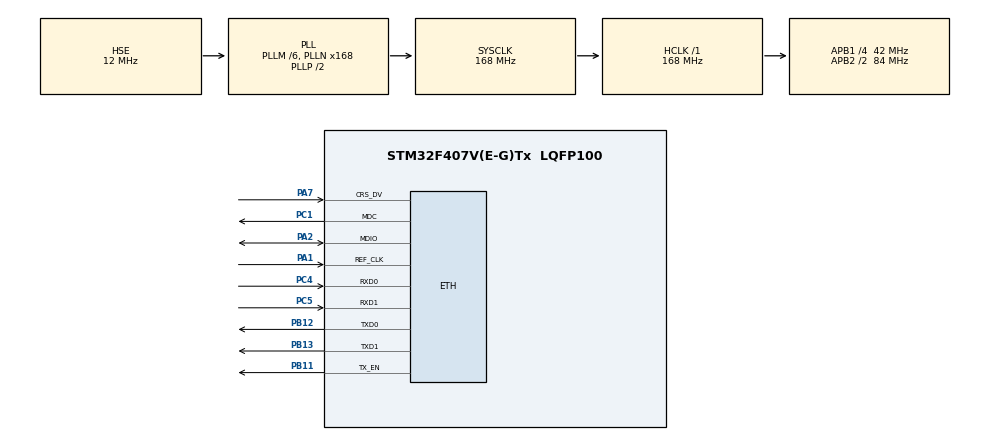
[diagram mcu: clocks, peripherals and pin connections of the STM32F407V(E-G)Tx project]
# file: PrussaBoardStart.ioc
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ETH.MediaInterface=ETH_MEDIA_INTERFACE_RMII
ETH.PhyAddress=0
FREERTOS.INCLUDE_uxTaskGetStackHighWaterMark=1
FREERTOS.INCLUDE_uxTaskGetStackHighWaterMark2=1
FREERTOS.INCLUDE_xTaskGetHandle=1
FREERTOS.Tasks01=defaultTask,0,128,StartDefaultTask,Default,NULL,Dynamic,NULL,NULL
FREERTOS.configCHECK_FOR_STACK_OVERFLOW=2
FREERTOS.configRECORD_STACK_HIGH_ADDRESS=1
FREERTOS.configUSE_MALLOC_FAILED_HOOK=1
FREERTOS.configUSE_NEWLIB_REENTRANT=0
FREERTOS.configUSE_TIMERS=1
FREERTOS.configUSE_TRACE_FACILITY=1
LWIP.Version=v2.1.2_Cube
Mcu.Family=STM32F4
Mcu.Name=STM32F407V(E-G)Tx
Mcu.Package=LQFP100
NVIC.ETH_IRQn=true\:5\:0\:false\:false\:true\:true\:false\:true\:true
NVIC.PriorityGroup=NVIC_PRIORITYGROUP_4
NVIC.TIM1_UP_TIM10_IRQn=true\:15\:0\:false\:false\:true\:false\:false\:true\:true
NVIC.TimeBase=TIM1_UP_TIM10_IRQn
NVIC.TimeBaseIP=TIM1
PA1.Mode=RMII
PA1.Signal=ETH_REF_CLK
PA13.Mode=Trace_Asynchronous_SW
PA13.Signal=SYS_JTMS-SWDIO
PA14.Mode=Trace_Asynchronous_SW
PA14.Signal=SYS_JTCK-SWCLK
PA2.Mode=RMII
PA2.Signal=ETH_MDIO
PA7.Mode=RMII
PA7.Signal=ETH_CRS_DV
PB11.Mode=RMII
PB11.Signal=ETH_TX_EN
PB12.Mode=RMII
PB12.Signal=ETH_TXD0
PB13.Mode=RMII
PB13.Signal=ETH_TXD1
PB3.Mode=Trace_Asynchronous_SW
PB3.Signal=SYS_JTDO-SWO
PC1.Mode=RMII
PC1.Signal=ETH_MDC
PC4.Mode=RMII
PC4.Signal=ETH_RXD0
PC5.Mode=RMII
PC5.Signal=ETH_RXD1
PH0-OSC_IN.Mode=HSE-External-Oscillator
PH0-OSC_IN.Signal=RCC_OSC_IN
PH1-OSC_OUT.Mode=HSE-External-Oscillator
PH1-OSC_OUT.Signal=RCC_OSC_OUT
ProjectManager.HeapSize=0x200
ProjectManager.StackSize=0x400
ProjectManager.TargetToolchain=STM32CubeIDE
RCC.48MHZClocksFreq_Value=48000000
RCC.AHBFreq_Value=168000000
RCC.APB1CLKDivider=RCC_HCLK_DIV4
RCC.APB1Freq_Value=42000000
RCC.APB1TimFreq_Value=84000000
RCC.APB2CLKDivider=RCC_HCLK_DIV2
RCC.APB2Freq_Value=84000000
RCC.APB2TimFreq_Value=168000000
RCC.CortexFreq_Value=168000000
RCC.HCLKFreq_Value=168000000
RCC.HSE_VALUE=12000000
RCC.HSI_VALUE=16000000
RCC.LSE_VALUE=32768
RCC.PLLM=6
RCC.PLLN=168
RCC.PLLQ=7
RCC.PLLSourceVirtual=RCC_PLLSOURCE_HSE
RCC.SYSCLKFreq_VALUE=168000000
RCC.SYSCLKSource=RCC_SYSCLKSOURCE_PLLCLK
RCC.VCOOutputFreq_Value=336000000
VP_CRC_VS_CRC.Mode=CRC_Activate
VP_FREERTOS_VS_CMSIS_V1.Mode=CMSIS_V1
VP_LWIP_VS_Enabled.Mode=Enabled
VP_MBEDTLS_VS_MBEDTLS.Mode=Enabled
VP_RNG_VS_RNG.Mode=RNG_Activate
VP_RTC_VS_RTC_Activate.Mode=RTC_Enabled
VP_RTC_VS_RTC_Calendar.Mode=RTC_Calendar
VP_SYS_VS_tim1.Mode=TIM1
board=custom

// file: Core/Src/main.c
/* USER CODE BEGIN Header */
/**
  ******************************************************************************
  * @file           : main.c
  * @brief          : Main program body
  ******************************************************************************
  * @attention
  *
  * Copyright (c) 2022 STMicroelectronics.
  * All rights reserved.
  *
  * This software is licensed under terms that can be found in the LICENSE file
  * in the root directory of this software component.
  * If no LICENSE file comes with this software, it is provided AS-IS.
  *
  ******************************************************************************
  */
/* USER CODE END Header */
#include "main.h"
#include "cmsis_os.h"
#include "mbedtls.h"

/* USER CODE BEGIN Includes */
#include "lwip.h"
#include "lwip/api.h"
#include "debuglog.h"
#include "time.h"

#include <libwebsockets.h>
#include <string.h>
#include "SEGGER_RTT.h"
/* USER CODE END Includes */

#define ASM_BKPT_DEBUG

CRC_HandleTypeDef hcrc;

RNG_HandleTypeDef hrng;

RTC_HandleTypeDef hrtc;

osThreadId defaultTaskHandle;

void SystemClock_Config(void);
static void MX_GPIO_Init(void);
static void MX_CRC_Init(void);
static void MX_RNG_Init(void);
static void MX_RTC_Init(void);
void StartDefaultTask(void const * argument);

/* USER CODE BEGIN PFP */
#define CONNECT_TO_POLAR3D_COM
//#define CONNECT_TO_LIBWEBSOCKETS_ORG
/* USER CODE END PFP */

int main(void)
{

  /* MCU Configuration--------------------------------------------------------*/

  /* Reset of all peripherals, Initializes the Flash interface and the Systick. */
  HAL_Init();

  /* Configure the system clock */
  SystemClock_Config();

  /* Initialize all configured peripherals */
  MX_GPIO_Init();
  MX_CRC_Init();
  MX_RNG_Init();
  MX_RTC_Init();
  /* USER CODE BEGIN 2 */
  SEGGER_RTT_Init();
  extern SEGGER_RTT_CB _SEGGER_RTT;
  char tmp[128]={};
  snprintf(tmp, 128, "\nTRACE[0x%08X]", (unsigned int)(&_SEGGER_RTT));
  for (int i=0; i<strnlen(tmp, 128); i++)
	  ITM_SendChar((uint32_t)tmp[i]);
  /* USER CODE END 2 */

  /* Create the thread(s) */
  /* definition and creation of defaultTask */
  osThreadDef(defaultTask, StartDefaultTask, osPriorityNormal, 0, 4096);
  defaultTaskHandle = osThreadCreate(osThread(defaultTask), NULL);

  /* Start scheduler */
  osKernelStart();

  /* We should never get here as control is now taken by the scheduler */
  /* Infinite loop */
  while (1)
  {

  }
}

void SystemClock_Config(void)
{
  RCC_OscInitTypeDef RCC_OscInitStruct = {0};
  RCC_ClkInitTypeDef RCC_ClkInitStruct = {0};

  /** Configure the main internal regulator output voltage
  */
  __HAL_RCC_PWR_CLK_ENABLE();
  __HAL_PWR_VOLTAGESCALING_CONFIG(PWR_REGULATOR_VOLTAGE_SCALE1);
  /** Initializes the RCC Oscillators according to the specified parameters
  * in the RCC_OscInitTypeDef structure.
  */
  RCC_OscInitStruct.OscillatorType = RCC_OSCILLATORTYPE_LSI|RCC_OSCILLATORTYPE_HSE;
  RCC_OscInitStruct.HSEState = RCC_HSE_ON;
  RCC_OscInitStruct.LSIState = RCC_LSI_ON;
  RCC_OscInitStruct.PLL.PLLState = RCC_PLL_ON;
  RCC_OscInitStruct.PLL.PLLSource = RCC_PLLSOURCE_HSE;
  RCC_OscInitStruct.PLL.PLLM = 6;
  RCC_OscInitStruct.PLL.PLLN = 168;
  RCC_OscInitStruct.PLL.PLLP = RCC_PLLP_DIV2;
  RCC_OscInitStruct.PLL.PLLQ = 7;
  if (HAL_RCC_OscConfig(&RCC_OscInitStruct) != HAL_OK)
  {
    Error_Handler();
  }
  /** Initializes the CPU, AHB and APB buses clocks
  */
  RCC_ClkInitStruct.ClockType = RCC_CLOCKTYPE_HCLK|RCC_CLOCKTYPE_SYSCLK
                              |RCC_CLOCKTYPE_PCLK1|RCC_CLOCKTYPE_PCLK2;
  RCC_ClkInitStruct.SYSCLKSource = RCC_SYSCLKSOURCE_PLLCLK;
  RCC_ClkInitStruct.AHBCLKDivider = RCC_SYSCLK_DIV1;
  RCC_ClkInitStruct.APB1CLKDivider = RCC_HCLK_DIV4;
  RCC_ClkInitStruct.APB2CLKDivider = RCC_HCLK_DIV2;

  if (HAL_RCC_ClockConfig(&RCC_ClkInitStruct, FLASH_LATENCY_5) != HAL_OK)
  {
    Error_Handler();
  }
}

static void MX_CRC_Init(void)
{

  hcrc.Instance = CRC;
  if (HAL_CRC_Init(&hcrc) != HAL_OK)
  {
    Error_Handler();
  }

}

static void MX_RNG_Init(void)
{

  hrng.Instance = RNG;
  if (HAL_RNG_Init(&hrng) != HAL_OK)
  {
    Error_Handler();
  }

}

static void MX_RTC_Init(void)
{

  RTC_TimeTypeDef sTime = {0};
  RTC_DateTypeDef sDate = {0};

  /** Initialize RTC Only
  */
  hrtc.Instance = RTC;
  hrtc.Init.HourFormat = RTC_HOURFORMAT_24;
  hrtc.Init.AsynchPrediv = 127;
  hrtc.Init.SynchPrediv = 255;
  hrtc.Init.OutPut = RTC_OUTPUT_DISABLE;
  hrtc.Init.OutPutPolarity = RTC_OUTPUT_POLARITY_HIGH;
  hrtc.Init.OutPutType = RTC_OUTPUT_TYPE_OPENDRAIN;
  if (HAL_RTC_Init(&hrtc) != HAL_OK)
  {
    Error_Handler();
  }

  /** Initialize RTC and set the Time and Date
  */
  sTime.Hours = 0x0;
  sTime.Minutes = 0x0;
  sTime.Seconds = 0x0;
  sTime.DayLightSaving = RTC_DAYLIGHTSAVING_NONE;
  sTime.StoreOperation = RTC_STOREOPERATION_RESET;
  if (HAL_RTC_SetTime(&hrtc, &sTime, RTC_FORMAT_BCD) != HAL_OK)
  {
    Error_Handler();
  }
  sDate.WeekDay = RTC_WEEKDAY_MONDAY;
  sDate.Month = RTC_MONTH_JANUARY;
  sDate.Date = 0x1;
  sDate.Year = 0x0;

  if (HAL_RTC_SetDate(&hrtc, &sDate, RTC_FORMAT_BCD) != HAL_OK)
  {
    Error_Handler();
  }

}

static void MX_GPIO_Init(void)
{

  /* GPIO Ports Clock Enable */
  __HAL_RCC_GPIOH_CLK_ENABLE();
  __HAL_RCC_GPIOC_CLK_ENABLE();
  __HAL_RCC_GPIOA_CLK_ENABLE();
  __HAL_RCC_GPIOB_CLK_ENABLE();

}

/* USER CODE BEGIN 4 */
void vApplicationStackOverflowHook(xTaskHandle xTask, signed char *pcTaskName)
{
#ifdef ASM_BKPT_DEBUG
	__asm("BKPT #0\n") ; // Break into the debugger
#endif //ASM_BKPT_DEBUG
	static char errStr[]="\nSTACK OVERFLOWED!";
	for(int i=0; i<sizeof(errStr); i++)
		ITM_SendChar(errStr[i]);
	while(1)
	{

	}
}

void vApplicationMallocFailedHook(void)
{

#ifdef ASM_BKPT_DEBUG
	__asm("BKPT #0\n") ; // Break into the debugger
#endif //ASM_BKPT_DEBUG
	static char errStr[]="\nMALLOC FAILED!";
	for(int i=0; i<sizeof(errStr); i++)
		ITM_SendChar(errStr[i]);
	while(1)
	{

	}
}

uint32_t RNGforMbedTLS(void)
{
	uint32_t tmp=0;
	HAL_RNG_GenerateRandomNumber(&hrng, &tmp);
	return tmp;
}

void srand(unsigned int seed)
{
	return;
}

int rand(void)
{
	uint32_t tmp=0;
	HAL_RNG_GenerateRandomNumber(&hrng, &tmp);
	return (int)tmp;
}

unsigned int sleep(unsigned int seconds)
{
	osDelay(seconds*1000);
	return 0;
}

int usleep(useconds_t usec)
{
	osDelay(usec);
	return 0;
}

time_t time (time_t * p)
{
	RTC_DateTypeDef sdatestructureget;
	RTC_TimeTypeDef stimestructureget;
	HAL_RTC_GetTime(&hrtc, &stimestructureget, RTC_FORMAT_BIN);
	HAL_RTC_GetDate(&hrtc, &sdatestructureget, RTC_FORMAT_BIN);

	struct tm orig;
	orig.tm_sec = stimestructureget.Seconds;
	orig.tm_min = stimestructureget.Minutes;
	orig.tm_hour = stimestructureget.Hours;
	orig.tm_mday = sdatestructureget.Date;
	orig.tm_mon =  sdatestructureget.Month -1;
	orig.tm_year = 2000 + sdatestructureget.Year -1900;
	orig.tm_isdst = -1;
	time_t time_dat = mktime(&orig);

	/*	   time_t time_dat2;
	   struct tm *orig2;
	   orig2 = localtime(&time_dat);
	   time_dat2 = mktime(orig2);*/
	return time_dat;
}

int gettimeofday (struct timeval *__restrict __p,
			  void *__restrict __tz)
{
	RTC_DateTypeDef sdatestructureget;
	RTC_TimeTypeDef stimestructureget;
	HAL_RTC_GetTime(&hrtc, &stimestructureget, RTC_FORMAT_BIN);
	HAL_RTC_GetDate(&hrtc, &sdatestructureget, RTC_FORMAT_BIN);

	struct tm orig;
	orig.tm_sec = stimestructureget.Seconds;
	orig.tm_min = stimestructureget.Minutes;
	orig.tm_hour = stimestructureget.Hours;
	orig.tm_mday = sdatestructureget.Date;
	orig.tm_mon =  sdatestructureget.Month -1;
	orig.tm_year = 2000 + sdatestructureget.Year -1900;
	orig.tm_isdst = -1;
	time_t time_dat = mktime(&orig);

	__p->tv_sec = time_dat;
	__p->tv_usec = 0;
	return 0;
}

/*struct tm *localtime (const time_t * p)
{
	RTC_DateTypeDef sdatestructureget;
	RTC_TimeTypeDef stimestructureget;
	HAL_RTC_GetTime(&hrtc, &stimestructureget, RTC_FORMAT_BIN);
	HAL_RTC_GetDate(&hrtc, &sdatestructureget, RTC_FORMAT_BIN);

	struct tm orig = pvPortMalloc(sizeof(struct tm));
	orig.tm_sec = stimestructureget.Seconds;
	orig.tm_min = stimestructureget.Minutes;
	orig.tm_hour = stimestructureget.Hours;
	orig.tm_mday = sdatestructureget.Date;
	orig.tm_mon =  sdatestructureget.Month -1;
	orig.tm_year = 2000 + sdatestructureget.Year -1900;
	orig.tm_isdst = -1;
}*/

int RTC_SetFromTimeStamp(time_t *timestamp)
{
		struct tm *newtime;
		RTC_DateTypeDef	sdatestructureset;
		RTC_TimeTypeDef stimestructureset;

		newtime = localtime(timestamp);
		stimestructureset.Seconds	=newtime->tm_sec;
		stimestructureset.Minutes	=newtime->tm_min;
		stimestructureset.Hours		=newtime->tm_hour;
		stimestructureset.DayLightSaving = RTC_DAYLIGHTSAVING_NONE;
		stimestructureset.StoreOperation = RTC_STOREOPERATION_RESET;

		sdatestructureset.Date		=newtime->tm_mday;
		sdatestructureset.Month		=newtime->tm_mon+1;
		sdatestructureset.Year		=(newtime->tm_year)+1900-2000;
		if(newtime->tm_wday==0)
			sdatestructureset.WeekDay = 7;
		else
			sdatestructureset.WeekDay = newtime->tm_wday;

		if (HAL_RTC_SetTime(&hrtc, &stimestructureset, RTC_FORMAT_BIN) != HAL_OK)
			DEBUG_PRINTF("SetTime error");

		if (HAL_RTC_SetDate(&hrtc, &sdatestructureset, RTC_FORMAT_BIN) != HAL_OK)
			DEBUG_PRINTF("SetDate error");

		return 0;
}

/*
 * This represents your object that "contains" the client connection and has
 * the client connection bound to it
 */

static struct my_conn {
	lws_sorted_usec_list_t	sul;	     /* schedule connection retry */
	struct lws		*wsi;	     /* related wsi if any */
	uint16_t		retry_count; /* count of consequetive retries */
} mco;

static struct lws_context *context;
static int interrupted, port = 443, ssl_connection = LCCSCF_USE_SSL;
static const char *server_address =
#ifdef 	CONNECT_TO_POLAR3D_COM
			"printer4.polar3d.com",
#endif	/*CONNECT_TO_POLAR3D_COM*/
#ifdef 	CONNECT_TO_LIBWEBSOCKETS_ORG
			"libwebsockets.org",
#endif /*CONNECT_TO_LIBWEBSOCKETS_ORG*/
			*pro = "dumb-increment-protocol";

/*
 * The retry and backoff policy we want to use for our client connections
 */

static const uint32_t backoff_ms[] = { 1000, 2000, 3000, 4000, 5000 };

static const lws_retry_bo_t retry = {
	.retry_ms_table			= backoff_ms,
	.retry_ms_table_count		= LWS_ARRAY_SIZE(backoff_ms),
	.conceal_count			= LWS_ARRAY_SIZE(backoff_ms),

	.secs_since_valid_ping		= 3,  /* force PINGs after secs idle */
	.secs_since_valid_hangup	= 10, /* hangup after secs idle */

	.jitter_percent			= 20,
};

/*
 * Scheduled sul callback that starts the connection attempt
 */

static void
connect_client(lws_sorted_usec_list_t *sul)
{
	struct my_conn *mco = lws_container_of(sul, struct my_conn, sul);
	struct lws_client_connect_info i;

	memset(&i, 0, sizeof(i));

	i.context = context;
	i.port = port;
	i.address = server_address;
	i.path = "/";
	i.host = i.address;
	i.origin = i.address;
	i.ssl_connection = ssl_connection;
	i.protocol = pro;
	i.local_protocol_name = "lws-minimal-client";
	i.pwsi = &mco->wsi;
	i.retry_and_idle_policy = &retry;
	i.userdata = mco;

	if (!lws_client_connect_via_info(&i))
		/*
		 * Failed... schedule a retry... we can't use the _retry_wsi()
		 * convenience wrapper api here because no valid wsi at this
		 * point.
		 */
		if (lws_retry_sul_schedule(context, 0, sul, &retry,
					   connect_client, &mco->retry_count)) {
			lwsl_err("%s: connection attempts exhausted\n", __func__);
			interrupted = 1;
		}
}

static int
callback_minimal(struct lws *wsi, enum lws_callback_reasons reason,
		 void *user, void *in, size_t len)
{
	struct my_conn *mco = (struct my_conn *)user;

	switch (reason) {

	case LWS_CALLBACK_CLIENT_CONNECTION_ERROR:
		lwsl_err("CLIENT_CONNECTION_ERROR: %s\n",
			 in ? (char *)in : "(null)");
		goto do_retry;
		break;

	case LWS_CALLBACK_CLIENT_RECEIVE:
		lwsl_hexdump_notice(in, len);
		break;

	case LWS_CALLBACK_CLIENT_ESTABLISHED:
		lwsl_user("%s: established\n", __func__);
		break;

	case LWS_CALLBACK_CLIENT_CLOSED:
		goto do_retry;

	default:
		break;
	}

	return lws_callback_http_dummy(wsi, reason, user, in, len);

do_retry:
	/*
	 * retry the connection to keep it nailed up
	 *
	 * For this example, we try to conceal any problem for one set of
	 * backoff retries and then exit the app.
	 *
	 * If you set retry.conceal_count to be larger than the number of
	 * elements in the backoff table, it will never give up and keep
	 * retrying at the last backoff delay plus the random jitter amount.
	 */
	if (lws_retry_sul_schedule_retry_wsi(wsi, &mco->sul, connect_client,
					     &mco->retry_count)) {
		lwsl_err("%s: connection attempts exhausted\n", __func__);
		interrupted = 1;
	}

	return 0;
}

static const struct lws_protocols protocols[] = {
	{ "lws-minimal-client", callback_minimal, 0, 0, 0, NULL, 0 },
	LWS_PROTOCOL_LIST_TERM
};

/*static void
sigint_handler(int sig)
{
	interrupted = 1;
}*/

#ifdef 	CONNECT_TO_LIBWEBSOCKETS_ORG
static const char * const ca_pem_ISRG_Root_X1 =
		"-----BEGIN CERTIFICATE-----\n"
		"MIIFazCCA1OgAwIBAgIRAIIQz7DSQONZRGPgu2OCiwAwDQYJKoZIhvcNAQELBQAw\n"
		"TzELMAkGA1UEBhMCVVMxKTAnBgNVBAoTIEludGVybmV0IFNlY3VyaXR5IFJlc2Vh\n"
		"cmNoIEdyb3VwMRUwEwYDVQQDEwxJU1JHIFJvb3QgWDEwHhcNMTUwNjA0MTEwNDM4\n"
		"WhcNMzUwNjA0MTEwNDM4WjBPMQswCQYDVQQGEwJVUzEpMCcGA1UEChMgSW50ZXJu\n"
		"ZXQgU2VjdXJpdHkgUmVzZWFyY2ggR3JvdXAxFTATBgNVBAMTDElTUkcgUm9vdCBY\n"
		"MTCCAiIwDQYJKoZIhvcNAQEBBQADggIPADCCAgoCggIBAK3oJHP0FDfzm54rVygc\n"
		"h77ct984kIxuPOZXoHj3dcKi/vVqbvYATyjb3miGbESTtrFj/RQSa78f0uoxmyF+\n"
		"0TM8ukj13Xnfs7j/EvEhmkvBioZxaUpmZmyPfjxwv60pIgbz5MDmgK7iS4+3mX6U\n"
		"A5/TR5d8mUgjU+g4rk8Kb4Mu0UlXjIB0ttov0DiNewNwIRt18jA8+o+u3dpjq+sW\n"
		"T8KOEUt+zwvo/7V3LvSye0rgTBIlDHCNAymg4VMk7BPZ7hm/ELNKjD+Jo2FR3qyH\n"
		"B5T0Y3HsLuJvW5iB4YlcNHlsdu87kGJ55tukmi8mxdAQ4Q7e2RCOFvu396j3x+UC\n"
		"B5iPNgiV5+I3lg02dZ77DnKxHZu8A/lJBdiB3QW0KtZB6awBdpUKD9jf1b0SHzUv\n"
		"KBds0pjBqAlkd25HN7rOrFleaJ1/ctaJxQZBKT5ZPt0m9STJEadao0xAH0ahmbWn\n"
		"OlFuhjuefXKnEgV4We0+UXgVCwOPjdAvBbI+e0ocS3MFEvzG6uBQE3xDk3SzynTn\n"
		"jh8BCNAw1FtxNrQHusEwMFxIt4I7mKZ9YIqioymCzLq9gwQbooMDQaHWBfEbwrbw\n"
		"qHyGO0aoSCqI3Haadr8faqU9GY/rOPNk3sgrDQoo//fb4hVC1CLQJ13hef4Y53CI\n"
		"rU7m2Ys6xt0nUW7/vGT1M0NPAgMBAAGjQjBAMA4GA1UdDwEB/wQEAwIBBjAPBgNV\n"
		"HRMBAf8EBTADAQH/MB0GA1UdDgQWBBR5tFnme7bl5AFzgAiIyBpY9umbbjANBgkq\n"
		"hkiG9w0BAQsFAAOCAgEAVR9YqbyyqFDQDLHYGmkgJykIrGF1XIpu+ILlaS/V9lZL\n"
		"ubhzEFnTIZd+50xx+7LSYK05qAvqFyFWhfFQDlnrzuBZ6brJFe+GnY+EgPbk6ZGQ\n"
		"3BebYhtF8GaV0nxvwuo77x/Py9auJ/GpsMiu/X1+mvoiBOv/2X/qkSsisRcOj/KK\n"
		"NFtY2PwByVS5uCbMiogziUwthDyC3+6WVwW6LLv3xLfHTjuCvjHIInNzktHCgKQ5\n"
		"ORAzI4JMPJ+GslWYHb4phowim57iaztXOoJwTdwJx4nLCgdNbOhdjsnvzqvHu7Ur\n"
		"TkXWStAmzOVyyghqpZXjFaH3pO3JLF+l+/+sKAIuvtd7u+Nxe5AW0wdeRlN8NwdC\n"
		"jNPElpzVmbUq4JUagEiuTDkHzsxHpFKVK7q4+63SM1N95R1NbdWhscdCb+ZAJzVc\n"
		"oyi3B43njTOQ5yOf+1CceWxG1bQVs5ZufpsMljq4Ui0/1lvh+wjChP4kqKOJ2qxq\n"
		"4RgqsahDYVvTH9w7jXbyLeiNdd8XM2w9U/t7y0Ff/9yi0GE44Za4rF2LN9d11TPA\n"
		"mRGunUHBcnWEvgJBQl9nJEiU0Zsnvgc/ubhPgXRR4Xq37Z0j4r7g1SgEEzwxA57d\n"
		"emyPxgcYxn/eR44/KJ4EBs+lVDR3veyJm+kXQ99b21/+jh5Xos1AnX5iItreGCc=\n"
		"-----END CERTIFICATE-----\n";
#endif /*CONNECT_TO_LIBWEBSOCKETS_ORG*/

#ifdef 	CONNECT_TO_POLAR3D_COM
static const char * const ca_pem_Amazon_Root_CA1 =
		"-----BEGIN CERTIFICATE-----\n"
		"MIIDQTCCAimgAwIBAgITBmyfz5m/jAo54vB4ikPmljZbyjANBgkqhkiG9w0BAQsF\n"
		"ADA5MQswCQYDVQQGEwJVUzEPMA0GA1UEChMGQW1hem9uMRkwFwYDVQQDExBBbWF6\n"
		"b24gUm9vdCBDQSAxMB4XDTE1MDUyNjAwMDAwMFoXDTM4MDExNzAwMDAwMFowOTEL\n"
		"MAkGA1UEBhMCVVMxDzANBgNVBAoTBkFtYXpvbjEZMBcGA1UEAxMQQW1hem9uIFJv\n"
		"b3QgQ0EgMTCCASIwDQYJKoZIhvcNAQEBBQADggEPADCCAQoCggEBALJ4gHHKeNXj\n"
		"ca9HgFB0fW7Y14h29Jlo91ghYPl0hAEvrAIthtOgQ3pOsqTQNroBvo3bSMgHFzZM\n"
		"9O6II8c+6zf1tRn4SWiw3te5djgdYZ6k/oI2peVKVuRF4fn9tBb6dNqcmzU5L/qw\n"
		"IFAGbHrQgLKm+a/sRxmPUDgH3KKHOVj4utWp+UhnMJbulHheb4mjUcAwhmahRWa6\n"
		"VOujw5H5SNz/0egwLX0tdHA114gk957EWW67c4cX8jJGKLhD+rcdqsq08p8kDi1L\n"
		"93FcXmn/6pUCyziKrlA4b9v7LWIbxcceVOF34GfID5yHI9Y/QCB/IIDEgEw+OyQm\n"
		"jgSubJrIqg0CAwEAAaNCMEAwDwYDVR0TAQH/BAUwAwEB/zAOBgNVHQ8BAf8EBAMC\n"
		"AYYwHQYDVR0OBBYEFIQYzIU07LwMlJQuCFmcx7IQTgoIMA0GCSqGSIb3DQEBCwUA\n"
		"A4IBAQCY8jdaQZChGsV2USggNiMOruYou6r4lK5IpDB/G/wkjUu0yKGX9rbxenDI\n"
		"U5PMCCjjmCXPI6T53iHTfIUJrU6adTrCC2qJeHZERxhlbI1Bjjt/msv0tadQ1wUs\n"
		"N+gDS63pYaACbvXy8MWy7Vu33PqUXHeeE6V/Uq2V8viTO96LXFvKWlJbYK8U90vv\n"
		"o/ufQJVtMVT8QtPHRh8jrdkPSHCa2XV4cdFyQzR1bldZwgJcJmApzyMZFo6IQ6XU\n"
		"5MsI+yMRQ+hDKXJioaldXgjUkK642M4UwtBV8ob2xJNDd2ZhwLnoQdeXeGADbkpy\n"
		"rqXRfboQnoZsG4q5WTP468SQvvG5\n"
		"-----END CERTIFICATE-----\n";
#endif	/*CONNECT_TO_POLAR3D_COM*/

int client(void)
{
	struct lws_context_creation_info info;
	//const char *p;

	//signal(SIGINT, sigint_handler);
	memset(&info, 0, sizeof info);
	//lws_cmdline_option_handle_builtin(argc, argv, &info);

	int n = 0, logs = LLL_USER | LLL_ERR | LLL_WARN | LLL_NOTICE
				/* for LLL_ verbosity above NOTICE to be built into lws,
				 * lws must have been configured and built with
				 * -DCMAKE_BUILD_TYPE=DEBUG instead of =RELEASE */
				 | LLL_INFO  | LLL_PARSER   | LLL_HEADER
				 | LLL_EXT   | LLL_CLIENT   | LLL_LATENCY
				 | LLL_DEBUG ;

		lws_set_log_level(logs, NULL);

	lwsl_user("LWS minimal ws client\n");

	info.options = LWS_SERVER_OPTION_DO_SSL_GLOBAL_INIT;
	info.port = CONTEXT_PORT_NO_LISTEN; /* we do not run any server */
	info.protocols = protocols;

#if defined(LWS_WITH_MBEDTLS) || defined(USE_WOLFSSL)
	/*
	 * OpenSSL uses the system trust store.  mbedTLS has to be told which
	 * CA to trust explicitly.
	 */
	//info.client_ssl_ca_filepath = "./libwebsockets.org.cer";
#ifdef 	CONNECT_TO_POLAR3D_COM
	info.client_ssl_ca_mem = ca_pem_Amazon_Root_CA1;
	info.client_ssl_ca_mem_len = (unsigned int)strlen(ca_pem_Amazon_Root_CA1);
#endif	/*CONNECT_TO_POLAR3D_COM*/
#ifdef 	CONNECT_TO_LIBWEBSOCKETS_ORG
	info.client_ssl_ca_mem = ca_pem_ISRG_Root_X1;
	info.client_ssl_ca_mem_len = (unsigned int)strlen(ca_pem_ISRG_Root_X1);
#endif /*CONNECT_TO_LIBWEBSOCKETS_ORG*/

#endif

/*	if ((p = lws_cmdline_option(argc, argv, "--protocol")))
		pro = p;

	if ((p = lws_cmdline_option(argc, argv, "-s")))
		server_address = p;

	if ((p = lws_cmdline_option(argc, argv, "-p")))
		port = atoi(p);

	if (lws_cmdline_option(argc, argv, "-n"))
		ssl_connection &= ~LCCSCF_USE_SSL;

	if (lws_cmdline_option(argc, argv, "-j"))
		ssl_connection |= LCCSCF_ALLOW_SELFSIGNED;

	if (lws_cmdline_option(argc, argv, "-k"))
		ssl_connection |= LCCSCF_ALLOW_INSECURE;

	if (lws_cmdline_option(argc, argv, "-m"))
		ssl_connection |= LCCSCF_SKIP_SERVER_CERT_HOSTNAME_CHECK;

	if (lws_cmdline_option(argc, argv, "-e"))
		ssl_connection |= LCCSCF_ALLOW_EXPIRED;*/

	info.fd_limit_per_thread = 1 + 1 + 1;

	context = lws_create_context(&info);
	if (!context) {
		lwsl_err("lws init failed\n");
		return 1;
	}

	/* schedule the first client connection attempt to happen immediately */
	lws_sul_schedule(context, 0, &mco.sul, connect_client, 1);

	while (n >= 0 && !interrupted)
		n = lws_service(context, 0);

	//lws_context_destroy(context);
	lwsl_user("Completed\n");

	return 0;
}

/* USER CODE END 4 */

void StartDefaultTask(void const * argument)
{
  /* USER CODE BEGIN 5 */
    DEBUG_PRINTF("SysCLK->%lu Mhz\n", HAL_RCC_GetSysClockFreq()/1000000);

	time_t EpochOverride = 1650009946;
	RTC_SetFromTimeStamp(&EpochOverride);
	time_t tmptime = time(NULL);
	DEBUG_PRINTF("System time: %s\n", asctime(gmtime(&tmptime)));

	MX_LWIP_Init();
/*
	ip4_addr_t ServerIP;
	netconn_gethostbyname ("printer2.polar3d.com", &ServerIP);
	DEBUG_PRINTF("DNS[%s]->%s\n", "printer2.polar3d.com", inet_ntoa(ServerIP) );
*/

	client();

  /* Infinite loop */
  for(;;)
  {
	osDelay(1000);
	//DEBUG_PRINTF(".");
  }
  /* USER CODE END 5 */
}

void HAL_TIM_PeriodElapsedCallback(TIM_HandleTypeDef *htim)
{
  if (htim->Instance == TIM1) {
    HAL_IncTick();
  }
}

void Error_Handler(void)
{
  __disable_irq();
  while (1)
  {
  }
}

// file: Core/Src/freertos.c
/* USER CODE BEGIN Header */
/**
  ******************************************************************************
  * File Name          : freertos.c
  * Description        : Code for freertos applications
  ******************************************************************************
  * @attention
  *
  * Copyright (c) 2022 STMicroelectronics.
  * All rights reserved.
  *
  * This software is licensed under terms that can be found in the LICENSE file
  * in the root directory of this software component.
  * If no LICENSE file comes with this software, it is provided AS-IS.
  *
  ******************************************************************************
  */
/* USER CODE END Header */

#include "FreeRTOS.h"
#include "task.h"
#include "main.h"

/* USER CODE BEGIN Includes */
#include "string.h"
/* USER CODE END Includes */

/* GetIdleTaskMemory prototype (linked to static allocation support) */
void vApplicationGetIdleTaskMemory( StaticTask_t **ppxIdleTaskTCBBuffer, StackType_t **ppxIdleTaskStackBuffer, uint32_t *pulIdleTaskStackSize );

/* GetTimerTaskMemory prototype (linked to static allocation support) */
void vApplicationGetTimerTaskMemory( StaticTask_t **ppxTimerTaskTCBBuffer, StackType_t **ppxTimerTaskStackBuffer, uint32_t *pulTimerTaskStackSize );

/* Hook prototypes */
void vApplicationStackOverflowHook(xTaskHandle xTask, signed char *pcTaskName);
void vApplicationMallocFailedHook(void);

/* USER CODE BEGIN 4 */
__weak void vApplicationStackOverflowHook(xTaskHandle xTask, signed char *pcTaskName)
{
   /* Run time stack overflow checking is performed if
   configCHECK_FOR_STACK_OVERFLOW is defined to 1 or 2. This hook function is
   called if a stack overflow is detected. */
}
/* USER CODE END 4 */

/* USER CODE BEGIN 5 */
__weak void vApplicationMallocFailedHook(void)
{
   /* vApplicationMallocFailedHook() will only be called if
   configUSE_MALLOC_FAILED_HOOK is set to 1 in FreeRTOSConfig.h. It is a hook
   function that will get called if a call to pvPortMalloc() fails.
   pvPortMalloc() is called internally by the kernel whenever a task, queue,
   timer or semaphore is created. It is also called by various parts of the
   demo application. If heap_1.c or heap_2.c are used, then the size of the
   heap available to pvPortMalloc() is defined by configTOTAL_HEAP_SIZE in
   FreeRTOSConfig.h, and the xPortGetFreeHeapSize() API function can be used
   to query the size of free heap space that remains (although it does not
   provide information on how the remaining heap might be fragmented). */
}
/* USER CODE END 5 */

/* USER CODE BEGIN GET_IDLE_TASK_MEMORY */
static StaticTask_t xIdleTaskTCBBuffer;
static StackType_t xIdleStack[configMINIMAL_STACK_SIZE];

void vApplicationGetIdleTaskMemory( StaticTask_t **ppxIdleTaskTCBBuffer, StackType_t **ppxIdleTaskStackBuffer, uint32_t *pulIdleTaskStackSize )
{
  *ppxIdleTaskTCBBuffer = &xIdleTaskTCBBuffer;
  *ppxIdleTaskStackBuffer = &xIdleStack[0];
  *pulIdleTaskStackSize = configMINIMAL_STACK_SIZE;
  /* place for user code */
}
/* USER CODE END GET_IDLE_TASK_MEMORY */

/* USER CODE BEGIN GET_TIMER_TASK_MEMORY */
static StaticTask_t xTimerTaskTCBBuffer;
static StackType_t xTimerStack[configTIMER_TASK_STACK_DEPTH];

void vApplicationGetTimerTaskMemory( StaticTask_t **ppxTimerTaskTCBBuffer, StackType_t **ppxTimerTaskStackBuffer, uint32_t *pulTimerTaskStackSize )
{
  *ppxTimerTaskTCBBuffer = &xTimerTaskTCBBuffer;
  *ppxTimerTaskStackBuffer = &xTimerStack[0];
  *pulTimerTaskStackSize = configTIMER_TASK_STACK_DEPTH;
  /* place for user code */
}
/* USER CODE END GET_TIMER_TASK_MEMORY */

/* USER CODE BEGIN Application */
void *pvPortCalloc( size_t nmemb, size_t size )
{
	void *pvReturn;
	size_t total = size*nmemb ;
	pvReturn = pvPortMalloc(total);
	if(!pvReturn)
		return NULL;
	memset(pvReturn, 0, total);
	return pvReturn;
}

/*void *pvPortCalloc( size_t mem)
{
	if(mem==0)
		return NULL;
	void *pvReturn = pvPortMalloc(mem);
	if(!pvReturn)
		return NULL;
	return memset(pvReturn, 0, mem);
}*/

void *pvPortRealloc(void *mem, size_t newsize)
{
    if (newsize == 0) {
        vPortFree(mem);
        return NULL;
    }

    void *p;
    p = pvPortMalloc(newsize);
    if (p) {
        /* zero the memory */
        if (mem != NULL) {
            memcpy(p, mem, newsize);
            vPortFree(mem);
            mem = NULL;
        }
    }
    return p;
}

void *realloc(void *p, size_t n)
{
	void *ptr;
	ptr = pvPortRealloc((p), (n));
	return ptr;
}
/* USER CODE END Application */
